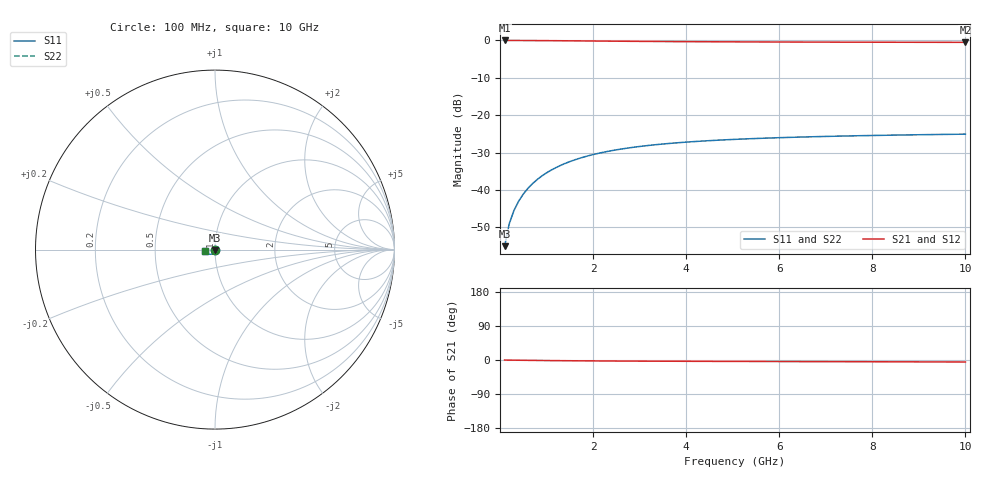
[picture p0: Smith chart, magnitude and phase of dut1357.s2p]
! Touchstone file exported from HFSS 2024.1.0
!  File:  C:/UserFiles/LocalFiles/RDL_TSV_Batchsim/temp_TSV1_1357_1780377859.aedt
!  Generated:  01:28:50 PM Jun  2, 2026
!  Design:  TSV1
!  Project:  temp_TSV1_1357_1780377859
!  Setup:  Setup1
!  Solution:  Sweep
! Variables:
!  dtsv = 14.44um
!  hbump = 3um
!  htsv = 79.77um
!  lrdl = 252.1521522um
!  p = 40
!  p1 = 58.35um
!  t = 500um
!  trdl = 3um
!  wrdl = 24.89489489um
# GHz S MA R 50.000000
! Terminal data exported
! Port[1] = TSV22_T1
! Port[2] = TSV22_T2
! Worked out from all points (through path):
!   100 points, 100 MHz to 10 GHz, reference 50 ohm
!   highest |S21| = 0.00 dB at 100 MHz (marker M1); lowest = -0.5 dB at 10 GHz (marker M2)
!   lowest |S11| = -55.0 dB at 100 MHz (marker M3), VSWR 1.00, Z = 50 - j0.177 ohm
!   |S11| at or under -10 dB: start of sweep to end of sweep
!   |S22| runs from -55.0 to -25.1 dB; largest |S21 - S12| = 5.7e-15
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0.1  0.00177 -89.4  0.9999 -0.2  0.9999 -0.2  0.00177 -89.4
! Gamma 0 0 0 0
! Port Impedance 50 0 50 0
0.2  0.003538 -92.5  0.9997 -0.3  0.9997 -0.3  0.003538 -92.5
0.3  0.005302 -94.9  0.9993 -0.5  0.9993 -0.5  0.005302 -94.9
0.4  0.007052 -97.0  0.9989 -0.6  0.9989 -0.6  0.007052 -97.0
0.5  0.008781 -99.1  0.9983 -0.7  0.9983 -0.7  0.008781 -99.1
0.6  0.01048 -101.2  0.9977 -0.9  0.9977 -0.9  0.01048 -101.2
0.7  0.01215 -103.2  0.997 -1.0  0.997 -1.0  0.01215 -103.2
0.8  0.01378 -105.1  0.9961 -1.2  0.9961 -1.2  0.01378 -105.1
0.9  0.01537 -107.0  0.9953 -1.3  0.9953 -1.3  0.01537 -107.0
1.1  0.01842 -110.7  0.9933 -1.5  0.9933 -1.5  0.01842 -110.7
1.4  0.02264 -115.9  0.99 -1.9  0.99 -1.9  0.02264 -115.9
1.6  0.0252 -119.1  0.9877 -2.1  0.9877 -2.1  0.0252 -119.1
1.8  0.02756 -122.2  0.9853 -2.2  0.9853 -2.2  0.02756 -122.2
2.1  0.03075 -126.4  0.9818 -2.5  0.9818 -2.5  0.03075 -126.4
2.5  0.0344 -131.5  0.9773 -2.7  0.9773 -2.7  0.0344 -131.5
2.9  0.03747 -136.0  0.9732 -2.9  0.9732 -2.9  0.03747 -136.0
3.4  0.04062 -140.9  0.9686 -3.2  0.9686 -3.2  0.04062 -140.9
4.2  0.04449 -147.6  0.9626 -3.5  0.9626 -3.5  0.04449 -147.6
5.1  0.04767 -153.6  0.9574 -3.8  0.9574 -3.8  0.04767 -153.6
6.7  0.05146 -162.0  0.9509 -4.2  0.9509 -4.2  0.05147 -162.0
8.4  0.05406 -169.0  0.9464 -4.8  0.9464 -4.8  0.05406 -169.0
10  0.05579 -174.3  0.9435 -5.3  0.9435 -5.3  0.05579 -174.3
